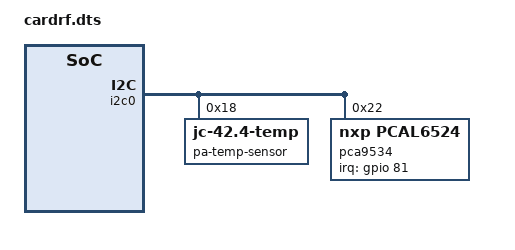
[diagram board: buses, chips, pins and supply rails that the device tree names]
/dts-v1/;
/plugin/;


/ {
    fragment@0 {
        target = <&i2c0>;
        __overlay__ {
                    pa-temp-sensor@18 {
                    compatible = "jedec,jc-42.4-temp";
                    reg = <0x18>;
                    };

                    /* Looking at the driver, this doesn't support the latch registers.

                        The latest driver (in kernel v5.2.3) does support latch, but we
                        would need to add the following ID:
                        { "pcal6408", 8 | PCA953X_TYPE | PCA_LATCH_INT, },
                    */
                    pca9534@22 {
                                compatible = "nxp,pcal6524";
                                reg = <0x22>;
                                gpio-controller;
                                #gpio-cells = <2>;
                                interrupt-parent = <&gpio>;
                                interrupts = <81 8>; /* IRQ_TYPE_EDGE_FALLING */
                                gpio-line-names = "LNA1_EN", "LNA2_EN", "LNA3_EN", "LNA4_EN",
                                                    "M2_A_BT_EN", "M2_A_WIFI_EN", "M2_B_BT_EN", "M2_B_WIFI_EN",     "TXA_PA_EN",
                                                    "TXB_PA_EN", "RX_FILT_C2", "TX_INHIB", "RX_FILT_C1", "CAL_TX_SEL",
                                                    "CAL_RX_SEL", "RX_CAL_EN", "LNA1_FLTn",
                                                    "LNA2_FLTn", "LNA3_FLTn", "LNA4_FLTn", "TXA_PA1_FLTn",
                                                    "TXA_PA2_FLTn", "TXB_PA1_FLTn", "TXB_PA2_FLTn";
                                };
        };
    };

    
};
